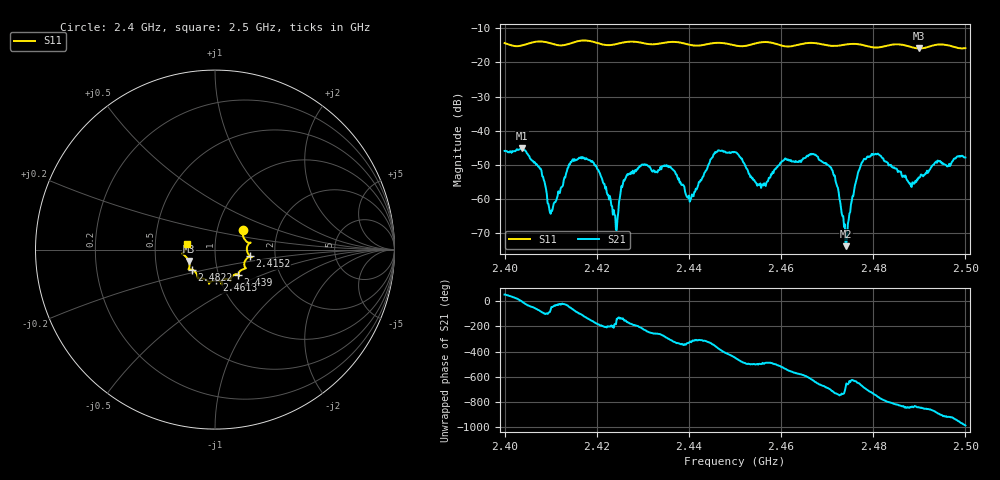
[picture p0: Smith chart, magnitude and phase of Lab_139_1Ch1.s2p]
# Hz S RI R 50
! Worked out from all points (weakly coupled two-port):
!   601 points, 2.4 GHz to 2.5 GHz, reference 50 ohm
!   highest |S21| = -45.08 dB at 2.4038 GHz (marker M1); lowest = -73.7 dB at 2.474 GHz (marker M2)
!   lowest |S11| = -15.9 dB at 2.49 GHz (marker M3), VSWR 1.38, Z = 36.9 - j4.83 ohm
!   |S11| at or under -10 dB: start of sweep to end of sweep
!   S12 and S22 are empty: the file has one direction only
!   S11 on the Smith chart (normalised r, x): 2.4 GHz: 1.33, +0.31; 2.4152 GHz: 1.48, -0.11; 2.439 GHz: 1.24, -0.36; 2.4613 GHz: 0.96, -0.34; 2.4822 GHz: 0.76, -0.17; 2.5 GHz: 0.72, +0.05
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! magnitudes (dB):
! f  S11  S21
! 2.4 GHz  -14.3  -45.9
! 2.4038 GHz  -15.0  -45.1
! 2.4075 GHz  -13.9  -50.6
! 2.41 GHz  -14.4  -64.2
! 2.4152 GHz  -14.1  -48.3
! 2.4167 GHz  -13.6  -48.0
! 2.4202 GHz  -14.3  -51.3
! 2.424 GHz  -14.7  -64.8
! 2.4267 GHz  -14.0  -52.6
! 2.4333 GHz  -14.5  -51.5
! 2.439 GHz  -14.5  -56.3
! 2.45 GHz  -15.0  -46.2
! 2.4553 GHz  -14.2  -55.9
! 2.4613 GHz  -15.3  -48.4
! 2.4667 GHz  -14.3  -46.7
! 2.4712 GHz  -15.2  -51.6
! 2.474 GHz  -14.8  -73.7
! 2.4777 GHz  -14.9  -49.1
! 2.4822 GHz  -15.4  -48.0
! 2.4833 GHz  -15.0  -50.1
! 2.49 GHz  -15.9  -53.7
! 2.5 GHz  -15.8  -47.8
